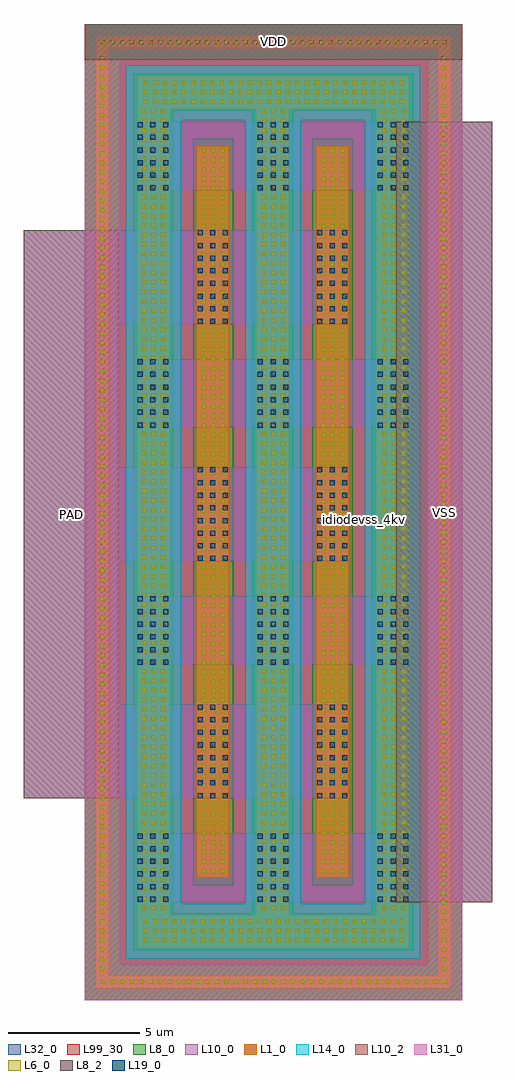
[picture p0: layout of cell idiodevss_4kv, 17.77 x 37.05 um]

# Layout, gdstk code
import gdstk
lib = gdstk.Library(unit=1e-6, precision=5e-09)
def R(c, l, rs):  # rectangles x0, y0, x1, y1
    for r in rs: c.add(gdstk.rectangle(r[:2], r[2:], *l))
def A(c, l, x, y, w, h, nx, ny, dx, dy):  # array of equal rectangles
    R(c, l, [(x+i*dx, y+j*dy, x+i*dx+w, y+j*dy+h) for i in range(nx) for j in range(ny)])
def P(c, l, *ps):  # polygons
    for p in ps: c.add(gdstk.Polygon(p, *l))
L1_0 = (1, 0)
L6_0 = (6, 0)
L8_0 = (8, 0)
L8_2 = (8, 2)
L10_0 = (10, 0)
L10_2 = (10, 2)
L14_0 = (14, 0)
L19_0 = (19, 0)
L31_0 = (31, 0)
L32_0 = (32, 0)
L99_30 = (99, 30)

idiodevss_4kv = lib.new_cell('idiodevss_4kv')
R(idiodevss_4kv, L1_0, [(4.23,4.65,5.49,32.43), (8.76,4.65,10.02,32.43)])
P(idiodevss_4kv, L1_0, [(1.98,1.98),(1.98,3.24),(11.05,3.24),(11.05,33.81),(7.77,33.81),(7.77,3.24),(6.51,3.24),(6.51,33.81),(3.24,33.81),(3.24,3.24),(1.98,3.24),(1.98,35.07),(12.31,35.07),(12.31,1.98)],
  [(0.42,0.45),(0.42,0.93),(13.42,0.93),(13.42,36.12),(0.9,36.12),(0.9,0.93),(0.42,0.93),(0.42,36.6),(13.9,36.6),(13.9,0.45)])
A(idiodevss_4kv, L6_0, 0.62, 0.61, 0.16, 0.16, 37, 2, 0.36, 35.67)
A(idiodevss_4kv, L6_0, 0.58, 1.105, 0.16, 0.16, 1, 97, 0, 0.36)
A(idiodevss_4kv, L6_0, 13.54, 1.105, 0.16, 0.16, 1, 97, 0, 0.36)
A(idiodevss_4kv, L6_0, 2.235, 2.19, 0.16, 0.16, 28, 3, 0.36, 0.36)
A(idiodevss_4kv, L6_0, 2.165, 3.405, 0.16, 0.16, 3, 85, 0.36, 0.36)
A(idiodevss_4kv, L6_0, 6.725, 3.405, 0.16, 0.16, 3, 85, 0.36, 0.36)
A(idiodevss_4kv, L6_0, 11.285, 3.405, 0.16, 0.16, 3, 85, 0.36, 0.36)
A(idiodevss_4kv, L6_0, 4.44, 4.81, 0.16, 0.16, 3, 77, 0.36, 0.36)
A(idiodevss_4kv, L6_0, 8.97, 4.81, 0.16, 0.16, 3, 77, 0.36, 0.36)
A(idiodevss_4kv, L6_0, 2.235, 34.02, 0.16, 0.16, 28, 3, 0.36, 0.36)
R(idiodevss_4kv, L8_0, [(4.11,4.35,5.64,32.7), (8.64,4.35,10.17,32.7)])
P(idiodevss_4kv, L8_0, [(1.83,1.89),(1.83,3.3),(10.9,3.3),(10.9,33.75),(7.92,33.75),(7.92,3.3),(6.36,3.3),(6.36,33.75),(3.36,33.75),(3.36,3.3),(1.83,3.3),(1.83,35.16),(12.46,35.16),(12.46,1.89)],
  [(0,0),(0,1.35),(13,1.35),(13,35.7),(1.35,35.7),(1.35,1.35),(0,1.35),(0,37.05),(14.32,37.05),(14.32,0)])
R(idiodevss_4kv, L8_2, [(0,35.7,14.32,37.05)])
P(idiodevss_4kv, L10_0, [(2.46,3.72),(2.46,3.725),(1.96,3.725),(1.96,6.325),(2.46,6.325),(2.46,6.33),(11.82,6.33),(11.82,12.72),(2.46,12.72),(2.46,12.725),(1.96,12.725),(1.96,15.325),(2.46,15.325),(2.46,15.33),(11.82,15.33),(11.82,21.72),(2.46,21.72),(2.46,21.725),(1.96,21.725),(1.96,24.325),(2.46,24.325),(2.46,24.33),(11.82,24.33),(11.82,30.72),(2.46,30.72),(2.46,30.725),(1.96,30.725),(1.96,33.325),(2.46,33.325),(2.46,33.33),(15.46,33.33),(15.46,3.72)],
  [(-2.31,7.66),(-2.31,29.22),(10.015,29.22),(10.015,25.66),(1.295,25.66),(1.295,20.22),(10.015,20.22),(10.015,16.66),(1.295,16.66),(1.295,11.22),(10.015,11.22),(10.015,7.66)])
R(idiodevss_4kv, L10_2, [(11.82,3.72,15.46,33.33), (-2.31,7.66,1.295,29.22)])
P(idiodevss_4kv, L14_0, [(1.56,1.56),(1.56,3.66),(10.63,3.66),(10.63,33.39),(8.19,33.39),(8.19,3.66),(6.09,3.66),(6.09,33.39),(3.66,33.39),(3.66,3.66),(1.56,3.66),(1.56,35.49),(12.73,35.49),(12.73,1.56)])
A(idiodevss_4kv, L19_0, 2.01, 3.73, 0.19, 0.19, 3, 6, 0.48, 0.48)
A(idiodevss_4kv, L19_0, 6.57, 3.73, 0.19, 0.19, 3, 6, 0.48, 0.48)
A(idiodevss_4kv, L19_0, 11.13, 3.73, 0.19, 0.19, 3, 6, 0.48, 0.48)
A(idiodevss_4kv, L19_0, 4.285, 7.665, 0.19, 0.19, 3, 8, 0.48, 0.48)
A(idiodevss_4kv, L19_0, 8.815, 7.665, 0.19, 0.19, 3, 8, 0.48, 0.48)
A(idiodevss_4kv, L19_0, 2.01, 12.73, 0.19, 0.19, 3, 6, 0.48, 0.48)
A(idiodevss_4kv, L19_0, 6.57, 12.73, 0.19, 0.19, 3, 6, 0.48, 0.48)
A(idiodevss_4kv, L19_0, 11.13, 12.73, 0.19, 0.19, 3, 6, 0.48, 0.48)
A(idiodevss_4kv, L19_0, 4.285, 16.665, 0.19, 0.19, 3, 8, 0.48, 0.48)
A(idiodevss_4kv, L19_0, 8.815, 16.665, 0.19, 0.19, 3, 8, 0.48, 0.48)
A(idiodevss_4kv, L19_0, 2.01, 21.73, 0.19, 0.19, 3, 6, 0.48, 0.48)
A(idiodevss_4kv, L19_0, 6.57, 21.73, 0.19, 0.19, 3, 6, 0.48, 0.48)
A(idiodevss_4kv, L19_0, 11.13, 21.73, 0.19, 0.19, 3, 6, 0.48, 0.48)
A(idiodevss_4kv, L19_0, 4.285, 25.665, 0.19, 0.19, 3, 8, 0.48, 0.48)
A(idiodevss_4kv, L19_0, 8.815, 25.665, 0.19, 0.19, 3, 8, 0.48, 0.48)
A(idiodevss_4kv, L19_0, 2.01, 30.73, 0.19, 0.19, 3, 6, 0.48, 0.48)
A(idiodevss_4kv, L19_0, 6.57, 30.73, 0.19, 0.19, 3, 6, 0.48, 0.48)
A(idiodevss_4kv, L19_0, 11.13, 30.73, 0.19, 0.19, 3, 6, 0.48, 0.48)
P(idiodevss_4kv, L31_0, [(0,0),(0,1.35),(13,1.35),(13,35.7),(1.35,35.7),(1.35,1.35),(0,1.35),(0,37.05),(14.32,37.05),(14.32,0)])
R(idiodevss_4kv, L32_0, [(0,0,14.32,37.05)])
R(idiodevss_4kv, L99_30, [(0,0,14.32,37.05)])
idiodevss_4kv.add(gdstk.Label('VDD', (7.16,36.375), layer=63, texttype=0))
idiodevss_4kv.add(gdstk.Label('VSS', (13.64,18.525), layer=63, texttype=0))
idiodevss_4kv.add(gdstk.Label('PAD', (-0.51,18.44), layer=63, texttype=0))
idiodevss_4kv.add(gdstk.Label('idiodevss_4kv', (10.62,18.25), layer=63, texttype=0))

lib.write_gds('idiodevss_4kv.gds')
